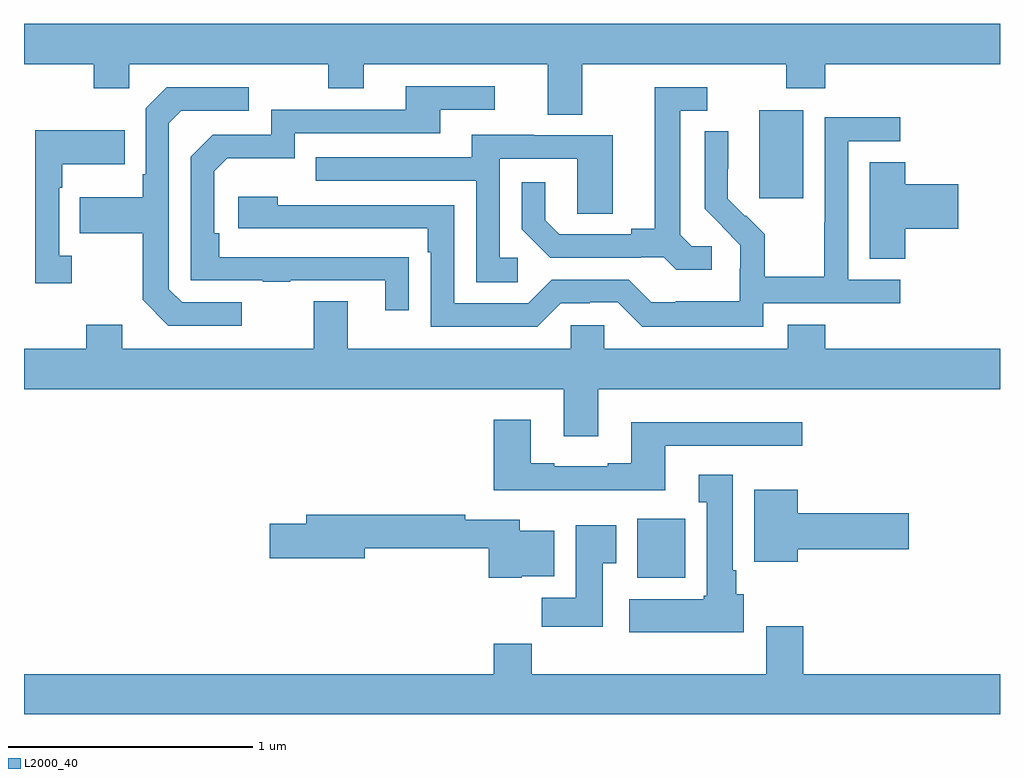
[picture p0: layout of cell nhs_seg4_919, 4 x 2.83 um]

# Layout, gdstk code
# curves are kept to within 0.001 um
import gdstk
lib = gdstk.Library(unit=1e-6, precision=1e-09)
def R(c, l, rs):  # rectangles x0, y0, x1, y1
    for r in rs: c.add(gdstk.rectangle(r[:2], r[2:], *l))
def P(c, l, *ps):  # polygons
    for p in ps: c.add(gdstk.Polygon(p, *l))
L2000_40 = (2000, 40)

nhs_seg4_919 = lib.new_cell('nhs_seg4_919')
R(nhs_seg4_919, L2000_40, [(161.513,756.086,161.71,756.328), (162.014,757.641,162.193,758.002)])
P(nhs_seg4_919, L2000_40, [(161.287,758.192),(162.124,758.192),(162.124,758.093),(162.284,758.093),(162.284,758.192),(163,758.192),(163,758.356),(159,758.356),(159,758.192),(159.286,758.192),(159.286,758.093),(159.432,758.093),(159.432,758.192),(160.246,758.192),(160.246,758.093),(160.393,758.093),(160.393,758.192),(161.147,758.192),(161.147,757.984),(161.287,757.984)],
  [(160.577,757.4),(159.8,757.401),(159.8,757.498),(159.78,757.498),(159.78,757.752),(159.833,757.805),(160.11,757.805),(160.11,757.908),(160.705,757.908),(160.705,758.004),(160.93,758.004),(160.93,758.1),(160.565,758.1),(160.565,758.004),(160.014,758.004),(160.014,757.902),(159.774,757.902),(159.684,757.812),(159.684,757.305),(159.979,757.305),(159.979,757.3),(160.091,757.3),(160.091,757.305),(160.481,757.305),(160.481,757.182),(160.577,757.182)],
  [(161.818,757.446),(161.736,757.446),(161.689,757.493),(161.689,758.001),(161.8,758.001),(161.8,758.097),(161.585,758.097),(161.585,757.517),(161.489,757.517),(161.489,757.494),(161.194,757.494),(161.137,757.551),(161.137,757.708),(161.04,757.708),(161.04,757.514),(161.156,757.398),(161.528,757.398),(161.528,757.401),(161.622,757.401),(161.674,757.349),(161.818,757.349)],
  [(159.892,757.215),(159.648,757.215),(159.594,757.269),(159.594,757.95),(159.645,758.001),(159.922,758.001),(159.922,758.097),(159.585,758.097),(159.498,758.01),(159.498,757.741),(159.486,757.741),(159.486,757.645),(159.229,757.645),(159.229,757.498),(159.486,757.498),(159.486,757.225),(159.591,757.119),(159.892,757.119)],
  [(162.03,757.212),(162.592,757.212),(162.592,757.308),(162.378,757.308),(162.378,757.875),(162.592,757.875),(162.592,757.974),(162.282,757.974),(162.282,757.544),(162.28,757.544),(162.28,757.321),(162.035,757.321),(162.035,757.495),(161.958,757.572),(161.955,757.569),(161.885,757.64),(161.886,757.916),(161.79,757.916),(161.79,757.598),(161.936,757.45),(161.936,757.353),(161.934,757.353),(161.934,757.219),(161.671,757.219),(161.671,757.215),(161.571,757.215),(161.478,757.308),(161.163,757.308),(161.067,757.212),(160.764,757.212),(160.764,757.614),(160.04,757.614),(160.04,757.648),(159.879,757.648),(159.879,757.518),(160.655,757.518),(160.655,757.421),(160.668,757.421),(160.668,757.116),(161.103,757.116),(161.199,757.212),(161.318,757.212),(161.318,757.215),(161.433,757.215),(161.533,757.115),(162.03,757.115)],
  [(159.196,757.406),(159.144,757.406),(159.144,757.685),(159.157,757.685),(159.157,757.781),(159.413,757.781),(159.413,757.921),(159.047,757.921),(159.047,757.293),(159.196,757.293)],
  [(161.023,757.398),(160.95,757.398),(160.95,757.803),(161.268,757.803),(161.268,757.579),(161.413,757.579),(161.413,757.899),(161.089,757.899),(161.089,757.903),(160.835,757.903),(160.835,757.809),(160.195,757.809),(160.195,757.713),(160.854,757.713),(160.854,757.297),(161.023,757.297)],
  [(162.611,757.517),(162.829,757.517),(162.829,757.7),(162.611,757.7),(162.611,757.79),(162.467,757.79),(162.467,757.393),(162.611,757.393)],
  [(161.353,756.86),(163,756.86),(163,757.024),(162.284,757.024),(162.284,757.123),(162.131,757.123),(162.131,757.024),(161.379,757.024),(161.379,757.122),(161.241,757.122),(161.241,757.024),(160.327,757.024),(160.327,757.219),(160.187,757.219),(160.187,757.024),(159.403,757.024),(159.403,757.123),(159.256,757.123),(159.256,757.024),(159,757.024),(159,756.86),(161.213,756.86),(161.213,756.666),(161.353,756.666)],
  [(161.629,756.627),(162.19,756.627),(162.19,756.724),(161.489,756.724),(161.489,756.556),(161.393,756.556),(161.393,756.543),(161.173,756.543),(161.173,756.556),(161.077,756.556),(161.077,756.733),(160.925,756.733),(160.925,756.446),(161.629,756.446)],
  [(161.95,756.018),(161.92,756.018),(161.92,756.118),(161.905,756.118),(161.905,756.508),(161.765,756.508),(161.765,756.395),(161.798,756.395),(161.798,756.012),(161.785,756.012),(161.785,755.998),(161.481,755.998),(161.481,755.864),(161.95,755.864)],
  [(162.172,756.203),(162.625,756.203),(162.625,756.35),(162.172,756.35),(162.172,756.448),(161.993,756.448),(161.993,756.152),(162.172,756.152)],
  [(161.04,756.092),(161.173,756.092),(161.173,756.28),(161.032,756.28),(161.032,756.324),(160.808,756.324),(160.808,756.344),(160.157,756.344),(160.157,756.308),(160.008,756.308),(160.008,756.166),(160.396,756.166),(160.396,756.208),(160.904,756.208),(160.904,756.086),(161.04,756.086)],
  [(161.371,756.145),(161.428,756.145),(161.428,756.301),(161.261,756.301),(161.261,756.004),(161.122,756.004),(161.122,755.886),(161.371,755.886)],
  [(163,755.692),(162.194,755.692),(162.194,755.887),(162.041,755.887),(162.041,755.692),(161.081,755.692),(161.081,755.816),(160.925,755.816),(160.925,755.692),(159,755.692),(159,755.528),(163,755.528)])

lib.write_gds('nhs_seg4_919.gds')
